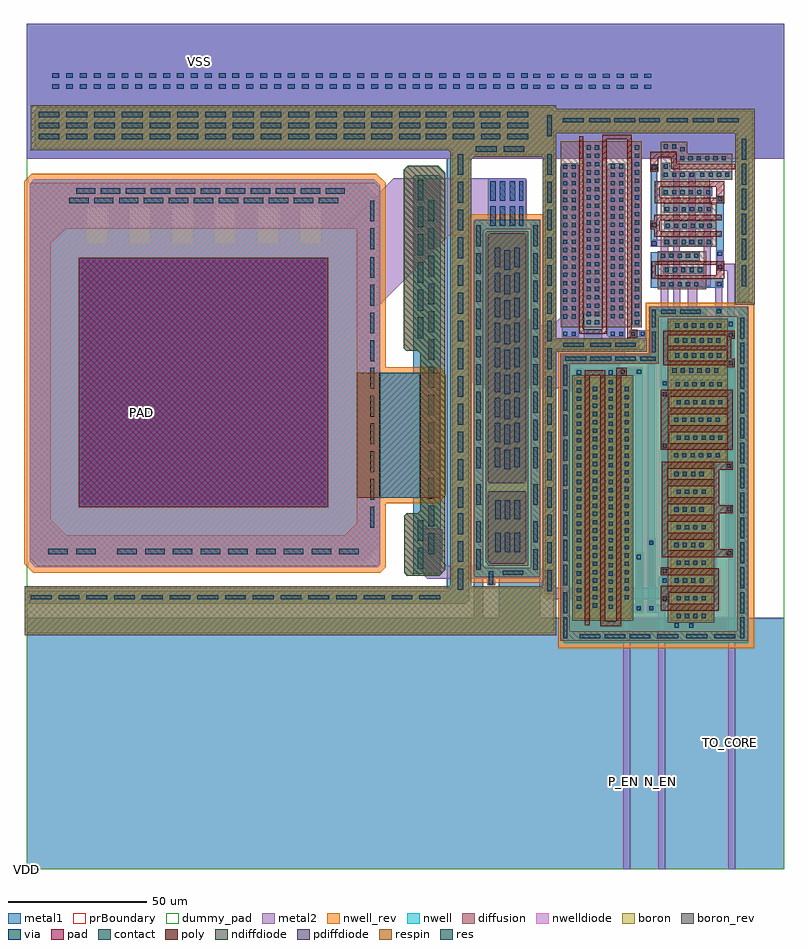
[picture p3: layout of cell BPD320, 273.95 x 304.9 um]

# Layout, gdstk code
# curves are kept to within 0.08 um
import gdstk
lib = gdstk.Library(unit=1e-6, precision=1e-09)
def R(c, l, rs):  # rectangles x0, y0, x1, y1
    for r in rs: c.add(gdstk.rectangle(r[:2], r[2:], *l))
def A(c, l, x, y, w, h, nx, ny, dx, dy):  # array of equal rectangles
    R(c, l, [(x+i*dx, y+j*dy, x+i*dx+w, y+j*dy+h) for i in range(nx) for j in range(ny)])
def P(c, l, *ps):  # polygons
    for p in ps: c.add(gdstk.Polygon(p, *l))
nwell = (1, 0)
diffusion = (2, 0)
nwell_rev = (3, 0)
poly = (4, 0)
boron = (5, 0)
boron_rev = (6, 0)
contact = (7, 0)
metal1 = (8, 0)
via = (9, 0)
metal2 = (10, 0)
pad = (11, 0)
prBoundary = (28, 0)
res = (35, 0)
respin = (36, 0)
pdiffdiode = (37, 0)
nwelldiode = (38, 0)
ndiffdiode = (39, 0)
dummy_pad = (40, 0)

bpd320 = lib.new_cell('BPD320')
P(bpd320, nwell, [(161.5,105.25),(161.15,105.6),(161.15,233.95),(161.45,234.25),(185,234.25),(185.15,234.1),(185.15,105.6),(184.8,105.25)],
  [(3.15,108.95),(1.05,111.05),(1.05,247.25),(2.6,248.8),(125.25,248.8),(127.4,246.65),(127.4,179.652),(128.002,179.05),(147.45,179.05),(149.1,177.4),(149.1,135.7),(147.45,134.05),(128.058,134.05),(127.45,133.442),(127.45,109.75),(126.65,108.95)],
  [(193.6,81.65),(193.6,185.25),(225.25,185.25),(225.25,202.35),(260.2,202.35),(260.2,81.65)])
R(bpd320, diffusion, [(197.35,90.4,218.05,177.4), (231.8,178.1,251.8,197.8), (190.05,187.35,222.85,190.85), (192.45,195.45,221.75,262.45), (227.45,209.2,244.95,222.9)])
P(bpd320, diffusion, [(232.1,89.6),(232.1,176.6),(252.1,176.6),(252.1,147.5),(247.1,147.5),(247.1,89.6)],
  [(3.95,109.3),(1.05,112.2),(1.05,246.563),(2.037,247.55),(119,247.55),(119,231),(14.214,231),(8.7,225.486),(8.7,126.204),(14.404,120.5),(114.449,120.5),(119,125.051),(119,247.55),(125.563,247.55),(127.35,245.763),(127.35,109.952),(126.698,109.3)],
  [(137.101,105.95),(136.1,106.951),(136.1,127.549),(136.951,128.4),(140.987,128.4),(141.85,129.263),(141.85,185.999),(140.849,187),(136.906,187),(136,187.906),(136,252.285),(137.365,253.65),(148.4,253.65),(150.9,251.15),(150.9,108.002),(148.848,105.95)],
  [(162.101,105.25),(161.15,106.201),(161.15,233.344),(162.056,234.25),(181.65,234.25),(181.65,230.75),(165.536,230.75),(164.65,229.864),(164.65,109.515),(165.415,108.75),(181.395,108.75),(181.65,109.005),(181.65,234.25),(184.95,234.25),(185.15,234.05),(185.15,106.052),(184.348,105.25)],
  [(0,85.15),(0,101.45),(153.45,101.45),(153.45,259.248),(152.848,259.85),(3.814,259.85),(2.85,260.814),(2.85,273.45),(4.05,274.65),(186.75,274.65),(186.75,257.65),(160.704,257.65),(159.55,256.496),(159.552,101.45),(186.295,101.45),(186.75,101.905),(186.75,274.65),(188.9,274.65),(190.25,273.3),(190.25,85.15)],
  [(192.35,82.35),(192.35,182.2),(192.3,182.2),(192.3,185.85),(224.35,185.85),(224.35,202.8),(256.15,202.8),(256.15,199.3),(227.85,199.3),(227.85,182.2),(195.85,182.2),(195.85,85.85),(256.15,85.85),(256.15,202.8),(260.1,202.8),(260.1,82.35)],
  [(167.105,110.25),(166.15,111.205),(166.15,135.6),(166.8,136.25),(179.65,136.25),(180.15,135.75),(180.15,111.15),(179.25,110.25)],
  [(166.752,139.25),(166.15,139.852),(166.15,228.35),(167.05,229.25),(179.448,229.25),(180.15,228.548),(180.15,140.156),(179.244,139.25)],
  [(256.15,204.3),(256.15,266.1),(189.95,266.1),(189.95,273.55),(261.65,273.55),(261.65,204.3)],
  [(228.65,224.4),(228.65,262.35),(238.15,262.35),(238.15,258.05),(254.3,258.05),(254.3,248.6),(246.15,248.6),(246.15,239.7),(248.65,239.7),(248.65,224.4)])
P(bpd320, nwell_rev, [(160.672,103.25),(159.15,104.772),(159.15,234.778),(160.622,236.25),(185.828,236.25),(187.15,234.928),(187.15,104.772),(185.628,103.25)],
  [(2.322,106.95),(-0.95,110.222),(-0.95,248.078),(1.772,250.8),(126.078,250.8),(129.4,247.478),(129.4,181.05),(148.278,181.05),(151.1,178.228),(151.1,134.872),(148.278,132.05),(129.45,132.05),(129.45,108.922),(127.478,106.95)],
  [(191.6,79.65),(191.6,187.25),(223.25,187.25),(223.25,204.35),(262.2,204.35),(262.2,79.65)])
P(bpd320, poly, [(206.85,87.65),(206.85,178.1),(202.95,178.1),(202.95,88),(201.15,88),(201.15,180),(208.65,180),(208.65,89.5),(212.55,89.5),(212.55,180.9),(216.35,180.9),(216.35,178),(214.35,178),(214.35,87.65)],
  [(228.6,93.3),(228.6,102.2),(247.6,102.2),(247.6,99.7),(231.6,99.7),(231.6,95.8),(247.6,95.8),(247.6,106.1),(228.6,106.1),(228.6,109),(231.55,109),(231.55,108.6),(249.5,108.6),(249.5,93.3)],
  [(229,112.5),(229,147),(247.6,147),(247.6,144.5),(231.05,144.5),(231.05,140.6),(247.6,140.6),(247.6,138.1),(231.05,138.1),(231.05,134.2),(247.6,134.2),(247.6,131.7),(231.05,131.7),(231.05,127.8),(247.6,127.8),(247.6,125.3),(231.05,125.3),(231.05,121.4),(247.6,121.4),(247.6,118.9),(231.05,118.9),(231.05,115),(247.6,115),(247.6,147),(254.6,147),(254.6,144.1),(249.6,144.1),(249.6,131.35),(254.6,131.35),(254.6,128.45),(249.6,128.45),(249.6,115.4),(254.6,115.4),(254.6,112.5)],
  [(228.6,151.2),(228.6,172.9),(252.6,172.9),(252.6,170.4),(231.55,170.4),(231.55,166.5),(252.6,166.5),(252.6,164),(231.6,164),(231.6,160.1),(252.6,160.1),(252.6,157.6),(231.6,157.6),(231.6,153.7),(252.6,153.7),(252.6,172.9),(254.6,172.9),(254.6,151.2)],
  [(252.4,181.1),(252.4,181.8),(229.55,181.8),(229.55,194.1),(252.4,194.1),(252.4,192.6),(231.1,192.6),(231.1,188.7),(252.4,188.7),(252.4,187.2),(231.1,187.2),(231.1,183.3),(252.4,183.3),(252.4,194.1),(255.3,194.1),(255.3,191.2),(253.9,191.2),(253.9,184),(255.3,184),(255.3,181.1)],
  [(226.3,228.1),(226.3,230.85),(224.7,230.85),(224.7,233.75),(226.3,233.75),(226.3,236),(250.55,236),(250.55,234),(228.15,234),(228.15,230.1),(250.55,230.1),(250.55,228.1)],
  [(216.55,191.7),(216.55,263.15),(209.05,263.15),(209.05,193.05),(199.15,193.05),(199.15,264.25),(200.65,264.25),(200.65,194.65),(207.55,194.65),(207.55,264.75),(218.05,264.75),(218.05,194.6),(220.15,194.6),(220.15,191.7)],
  [(226.45,240.2),(226.45,248.1),(248.5,248.1),(248.5,246.1),(228.15,246.1),(228.15,242.2),(248.5,242.2),(248.5,248.1),(251.4,248.1),(251.4,240.2)],
  [(225.4,212.9),(225.4,219.2),(248.5,219.2),(248.5,218),(226.75,218),(226.75,214.1),(248.5,214.1),(248.5,219.2),(251.4,219.2),(251.4,212.9)],
  [(224.7,251.55),(224.7,258.65),(234.35,258.65),(234.35,254.3),(255.5,254.3),(255.5,252.3),(232.35,252.3),(232.35,256.65),(227.6,256.65),(227.6,251.55)])
R(bpd320, boron, [(196.65,89.7,218.75,178.15), (190.95,186.65,223.55,191.55)])
P(bpd320, boron, [(166.6,109.55),(165.45,110.7),(165.45,229.5),(165.9,229.95),(180.85,229.95),(180.85,109.55)],
  [(-0.7,84.45),(-0.7,102.15),(152.75,102.15),(152.75,258.6),(152.2,259.15),(1.4,259.15),(1.4,275.45),(186.05,275.45),(186.05,256.95),(161.451,256.95),(160.25,255.749),(160.25,102.15),(185.7,102.15),(186.05,102.5),(186.05,275.45),(190.95,275.45),(190.95,84.45)],
  [(231.1,88.85),(231.1,198.5),(252.8,198.5),(252.8,146.75),(247.85,146.75),(247.85,88.85)],
  [(255.4,203.6),(255.4,265.4),(190.95,265.4),(190.95,274.25),(262.45,274.25),(262.45,203.6)])
R(bpd320, boron_rev, [(196.65,89.7,218.75,178.15), (190.95,186.65,223.55,191.55)])
P(bpd320, boron_rev, [(166.6,109.55),(165.45,110.7),(165.45,229.5),(165.9,229.95),(180.85,229.95),(180.85,109.55)],
  [(-0.7,84.45),(-0.7,102.15),(152.75,102.15),(152.75,258.6),(152.2,259.15),(1.4,259.15),(1.4,275.45),(186.05,275.45),(186.05,256.95),(161.451,256.95),(160.25,255.749),(160.25,102.15),(185.7,102.15),(186.05,102.5),(186.05,275.45),(190.95,275.45),(190.95,84.45)],
  [(231.1,88.85),(231.1,198.5),(252.8,198.5),(252.8,146.75),(247.85,146.75),(247.85,88.85)],
  [(255.4,203.6),(255.4,265.4),(190.95,265.4),(190.95,274.25),(262.45,274.25),(262.45,203.6)])
A(bpd320, contact, 199.35, 83.35, 7.5, 1.5, 3, 1, 9, 0)
A(bpd320, contact, 257.15, 83.35, 1.5, 7.5, 1, 13, 0, 9)
A(bpd320, contact, 234.3, 90.6, 1.5, 1.5, 4, 2, 3, 6.4)
A(bpd320, contact, 198.35, 93.9, 1.5, 1.5, 1, 4, 0, 3)
A(bpd320, contact, 209.85, 93.9, 1.5, 1.5, 1, 4, 0, 3)
A(bpd320, contact, 204.15, 94.4, 1.5, 1.5, 1, 27, 0, 3)
A(bpd320, contact, 1.55, 97.3, 7.5, 1.5, 15, 1, 10, 0)
A(bpd320, contact, 215.55, 97.4, 1.5, 1.5, 1, 26, 0, 3)
A(bpd320, contact, 187.75, 100.35, 1.5, 7.5, 1, 16, 0, 10)
A(bpd320, contact, 155.45, 100.85, 2, 7.5, 1, 3, 0, 10)
A(bpd320, contact, 193.35, 102.35, 1.5, 7.5, 1, 9, 0, 9)
A(bpd320, contact, 236.55, 103.4, 1.5, 1.5, 3, 1, 3, 0)
A(bpd320, contact, 209.85, 108.9, 1.5, 1.5, 1, 3, 0, 3)
A(bpd320, contact, 234.3, 109.8, 1.5, 1.5, 4, 3, 3, 12.8)
A(bpd320, contact, 32.75, 113.55, 7, 2, 9, 1, 10, 0)
A(bpd320, contact, 168.85, 114.4, 2, 7, 3, 2, 3.5, 11.75)
A(bpd320, contact, 236.5, 116.2, 1.5, 1.5, 3, 3, 3, 12.8)
A(bpd320, contact, 123.85, 123.25, 1.5, 7.5, 1, 10, 0, 10)
A(bpd320, contact, 144.85, 123.65, 2, 7.5, 1, 12, 0, 10)
A(bpd320, contact, 155.45, 130.35, 2, 7.5, 1, 13, 0, 10)
A(bpd320, contact, 172.25, 144.25, 2, 7, 1, 9, 0, 9)
A(bpd320, contact, 162.15, 144.65, 1.5, 7.5, 1, 9, 0, 10)
A(bpd320, contact, 182.65, 144.65, 1.5, 7.5, 1, 9, 0, 10)
A(bpd320, contact, 168.75, 145.05, 2, 7, 1, 9, 0, 9)
A(bpd320, contact, 175.75, 145.05, 2, 7, 1, 9, 0, 9)
A(bpd320, contact, 233.35, 148.5, 1.5, 1.5, 4, 2, 3, 12.8)
A(bpd320, contact, 234.3, 154.9, 1.5, 1.5, 6, 2, 3, 12.8)
A(bpd320, contact, 234, 174.1, 1.5, 1.5, 4, 1, 3, 0)
A(bpd320, contact, 241.8, 179.1, 1.5, 1.5, 3, 1, 3, 0)
A(bpd320, contact, 194.15, 183.35, 7.5, 1.5, 3, 1, 9, 0)
A(bpd320, contact, 233.8, 184.5, 1.5, 1.5, 6, 2, 3, 10.8)
A(bpd320, contact, 242.55, 189.9, 1.5, 1.5, 3, 1, 3, 0)
A(bpd320, contact, 141.05, 191.45, 2, 7.5, 1, 5, 0, 10)
A(bpd320, contact, 204.85, 196.45, 1.5, 1.5, 1, 3, 0, 3)
A(bpd320, contact, 219.25, 196.45, 1.5, 1.5, 1, 3, 0, 6)
A(bpd320, contact, 196.45, 198.55, 1.5, 1.5, 1, 19, 0, 3)
A(bpd320, contact, 213.55, 198.6, 1.5, 1.5, 1, 5, 0, 3)
A(bpd320, contact, 193.45, 204.55, 1.5, 1.5, 1, 7, 0, 6)
A(bpd320, contact, 210.55, 207.6, 1.5, 1.5, 1, 5, 0, 3)
A(bpd320, contact, 204.85, 208.45, 1.5, 1.5, 1, 3, 0, 3)
A(bpd320, contact, 228.65, 210.2, 1.5, 1.5, 5, 2, 3, 10.2)
A(bpd320, contact, 201.85, 214.45, 1.5, 1.5, 1, 3, 0, 3)
A(bpd320, contact, 213.55, 216.6, 1.5, 1.5, 1, 5, 0, 3)
A(bpd320, contact, 204.85, 220.45, 1.5, 1.5, 1, 3, 0, 3)
A(bpd320, contact, 219.25, 220.45, 1.5, 1.5, 1, 3, 0, 3)
A(bpd320, contact, 230.1, 225.4, 1.5, 1.5, 3, 2, 3, 11.8)
A(bpd320, contact, 210.55, 225.6, 1.5, 1.5, 1, 5, 0, 3)
A(bpd320, contact, 201.85, 226.45, 1.5, 1.5, 1, 3, 0, 3)
A(bpd320, contact, 230.4, 231.3, 1.5, 1.5, 6, 1, 3, 0)
A(bpd320, contact, 204.85, 232.45, 1.5, 1.5, 1, 3, 0, 3)
A(bpd320, contact, 219.25, 232.45, 1.5, 1.5, 1, 3, 0, 3)
A(bpd320, contact, 213.55, 234.6, 1.5, 1.5, 1, 5, 0, 3)
A(bpd320, contact, 201.85, 238.45, 1.5, 1.5, 1, 3, 0, 3)
A(bpd320, contact, 15.3, 240.05, 7, 2, 11, 1, 9, 0)
A(bpd320, contact, 229.65, 243.4, 1.5, 1.5, 5, 1, 3, 0)
A(bpd320, contact, 17.8, 243.55, 7, 2, 10, 1, 9, 0)
A(bpd320, contact, 210.55, 243.6, 1.5, 1.5, 1, 4, 0, 3)
A(bpd320, contact, 204.85, 244.45, 1.5, 1.5, 1, 3, 0, 3)
A(bpd320, contact, 219.25, 244.45, 1.5, 1.5, 1, 3, 0, 3)
A(bpd320, contact, 229.65, 249.6, 1.5, 1.5, 3, 1, 3, 0)
A(bpd320, contact, 242.8, 249.6, 1.5, 1.5, 4, 1, 3, 0)
A(bpd320, contact, 201.85, 250.45, 1.5, 1.5, 1, 4, 0, 3)
A(bpd320, contact, 235.55, 255.55, 1.5, 1.5, 6, 1, 3, 0)
A(bpd320, contact, 4.3, 263.15, 7.5, 2, 14, 3, 10, 4)
A(bpd320, contact, 143.8, 263.15, 7.5, 2, 1, 3, 0, 4)
A(bpd320, contact, 173.3, 263.15, 7.5, 2, 1, 3, 0, 4)
A(bpd320, contact, 202.8, 269.3, 7.5, 1.5, 3, 1, 9, 0)
R(bpd320, contact, [(193.35,83.35,194.85,90.85), (227.35,83.35,234.85,84.85), (237.8,83.35,245.35,84.85), (247.85,83.35,255.35,84.85), (193.35,92.35,194.85,99.85), (229.3,96.9,230.8,98.4), (171.55,106.25,179.05,107.75), (229.3,106.8,230.8,108.3), (162.15,108,163.65,115.5), (182.65,108,184.15,115.5), (141.05,108.4,143.05,115.9), (198.35,108.9,199.85,110.4), (198.35,111.9,199.85,113.4), (252.4,113.2,253.9,114.7), (7.85,113.55,14.85,115.55), (17.85,113.55,24.85,115.55), (198.35,117.9,199.85,119.4), (162.15,118,163.65,125.5), (182.65,118,184.15,125.5), (141.05,118.45,143.05,125.95), (198.35,120.9,199.85,122.4), (209.85,120.9,211.35,122.4), (209.85,123.9,211.35,125.4), (198.35,126.9,199.85,128.4), (252.4,129.15,253.9,130.65), (198.35,129.9,199.85,131.4), (209.85,129.9,211.35,131.4), (162.15,131.4,163.65,138.9), (182.65,131.4,184.15,138.9), (209.85,132.9,211.35,134.4), (198.35,135.9,199.85,137.4), (198.35,138.9,199.85,140.4), (209.85,138.9,211.35,140.4), (209.85,141.9,211.35,143.4), (252.4,144.8,253.9,146.3), (198.35,144.9,199.85,146.4), (198.35,147.9,199.85,149.4), (209.85,147.9,211.35,149.4), (248.35,148.5,249.85,150), (209.85,150.9,211.35,152.4), (229.3,151.9,230.8,153.4), (198.35,153.9,199.85,155.4), (198.35,156.9,199.85,158.4), (209.85,156.9,211.35,158.4), (209.85,159.9,211.35,161.4), (248.35,161.3,249.85,162.8), (198.35,162.9,199.85,164.4), (198.35,165.9,199.85,167.4), (209.85,165.9,211.35,167.4), (209.85,168.9,211.35,170.4), (229.3,170.55,230.8,172.05), (198.35,171.9,199.85,173.4), (249,174.1,250.5,175.6), (198.35,174.9,199.85,176.4), (209.85,174.9,211.35,176.4), (214.15,178.7,215.65,180.2), (232.8,179.1,234.3,180.6), (235.8,179.1,237.3,180.6), (253.1,181.8,254.6,183.3), (221.15,183.35,226.85,184.85), (225.35,186.35,226.85,193.85), (193.35,188.35,200.85,189.85), (203.15,188.35,210.65,189.85), (212.15,188.35,219.65,189.85), (233.55,189.9,235.05,191.4), (236.55,189.9,238.05,191.4), (253.1,191.9,254.6,193.4), (217.95,192.4,219.45,193.9), (225.35,195.35,226.85,201.75), (201.85,196.45,203.35,197.95), (210.55,198.6,212.05,200.1), (201.85,199.45,203.35,200.95), (228.7,200.3,234.05,201.8), (235.55,200.3,243.05,201.8), (210.55,201.6,212.05,203.1), (201.85,205.45,203.35,206.95), (201.85,208.45,203.35,209.95), (257.85,210.3,259.35,217.8), (219.25,211.45,220.75,212.95), (219.25,214.45,220.75,215.95), (229.95,215.3,231.45,216.8), (232.95,215.3,234.45,216.8), (238.95,215.3,240.45,216.8), (241.95,215.3,243.45,216.8), (249.2,216.3,250.7,217.8), (257.85,219.8,259.35,227.3), (123.85,223.6,125.35,231.1), (242.1,225.4,243.6,226.9), (245.1,225.4,246.6,226.9), (257.85,228.8,259.35,236.3), (225.4,231.55,226.9,233.05), (123.85,233.6,125.35,241.1), (242.1,237.2,243.6,238.7), (245.1,237.2,246.6,238.7), (257.85,237.85,259.35,245.3), (249.2,240.9,250.7,242.4), (141.05,241.15,143.05,248.65), (107.8,243.55,114.7,245.55), (193.45,243.55,194.95,245.05), (257.85,246.8,259.35,254.3), (225.4,252.25,226.9,253.75), (193.45,252.55,194.95,254.05), (213.55,252.6,215.05,254.1), (229.65,252.65,231.15,254.15), (257.85,255.85,259.35,263.35), (204.85,256.45,206.35,257.95), (219.25,256.45,220.75,257.95), (161.95,258.65,169.45,260.65), (171.95,258.65,179.45,260.65), (235.65,258.85,237.15,260.35), (204.85,259.45,206.35,260.95), (219.25,259.45,220.75,260.95), (229.65,259.85,231.15,261.35), (232.65,259.85,234.15,261.35), (153.65,263.15,161.3,265.15), (163.8,263.15,170.8,265.15), (187.75,264.35,189.25,271.85), (153.65,267.15,161.3,269.15), (163.8,267.15,170.8,269.15), (193.3,269.3,200.8,270.8), (230.8,269.3,238.3,270.8), (240.1,269.3,247.6,270.8), (249.2,269.3,256.7,270.8), (153.8,271.15,161.3,273.15), (163.3,271.15,170.8,273.15)])
R(bpd320, metal1, [(0,0,273,90.7), (232.85,90.1,247.6,93.3), (223.9,92.55,226.8,119.15), (219.35,92.7,222.3,114.25), (233.05,102.9,244.55,105.8), (233,115.25,244.5,118.2), (233,127.95,244.5,131), (233,140.65,244.5,143.8), (232.85,160.3,250.4,163.3), (233.5,172.95,251,176.1), (232.3,178.15,249.8,181.1), (213.65,178.2,222,180.8), (233.05,189,250.55,191.9), (217.4,191.9,223.35,194.4), (229.45,214.8,244.1,217.3), (224.9,224.4,227.4,254.25), (229.6,224.9,247.1,228.05), (229.6,236.7,247.1,240.05), (229.15,242.9,247.05,246.15), (0,256.2,273,304.9)])
P(bpd320, metal1, [(0.75,95.85),(0.75,100.5),(151.35,100.5),(151.35,256.2),(0,256.2),(0,304.9),(231,304.9),(231,256.2),(190.95,256.2),(190.95,99.3),(190.85,99.2),(186.85,99.2),(186.75,99.3),(186.75,255.344),(185.894,256.2),(160.252,256.2),(159.55,255.498),(159.55,97.066),(158.334,95.85)],
  [(190.1,187.75),(190.1,190.35),(200.9,190.35),(200.9,256.2),(0,256.2),(0,304.9),(273,304.9),(273,256.2),(260.45,256.2),(260.45,204.7),(256.65,204.7),(256.65,255),(234.35,255),(234.35,256.2),(221.75,256.2),(221.75,195.95),(218.7,195.95),(218.25,196.4),(218.25,256.2),(207.45,256.2),(207.45,190.35),(220.75,190.35),(220.75,187.75)],
  [(233.8,96.5),(233.8,99.6),(246.05,99.6),(246.05,109.3),(233.8,109.3),(233.8,112.75),(246.05,112.75),(246.05,121.65),(233.8,121.65),(233.8,124.6),(246.05,124.6),(246.05,134.2),(233.8,134.2),(233.8,137.4),(246.05,137.4),(246.05,147.35),(232.85,147.35),(232.85,150.5),(250.35,150.5),(250.35,147.55),(248.55,147.55),(248.55,96.5)],
  [(0,0),(0,90.7),(160.689,90.7),(161.15,91.161),(161.15,233.85),(161.55,234.25),(164.197,234.25),(164.65,233.797),(164.65,91.05),(165,90.7),(169.7,90.7),(170.15,91.15),(170.15,108.248),(170.652,108.75),(181.395,108.75),(181.65,109.005),(181.65,233.847),(182.053,234.25),(184.8,234.25),(185.15,233.9),(185.15,91.202),(185.652,90.7),(231,90.7),(231,0)],
  [(2.45,110.8),(1.75,111.5),(1.75,245.949),(3.351,247.55),(29.2,247.55),(29.2,238.55),(21.5,238.55),(21.5,225.55),(29.2,225.55),(29.2,247.55),(44.6,247.55),(44.6,238.55),(36.9,238.55),(36.9,225.55),(44.6,225.55),(44.6,247.55),(60,247.55),(60,238.55),(52.3,238.55),(52.3,225.55),(60,225.55),(60,247.55),(75.4,247.55),(75.4,238.55),(67.7,238.55),(67.7,225.55),(75.4,225.55),(75.4,247.55),(90.8,247.55),(90.8,238.55),(83.1,238.55),(83.1,225.55),(90.8,225.55),(90.8,247.55),(106.2,247.55),(106.2,238.55),(98.5,238.55),(98.5,225.55),(106.2,225.55),(106.2,247.55),(121.25,247.55),(127.4,241.4),(127.4,214),(127.3,214),(127.35,116.437),(121.713,110.8)],
  [(139.35,106.65),(139.35,249.685),(139.915,250.25),(148.548,250.25),(149.35,249.448),(149.35,106.65)],
  [(209.2,92.8),(208.95,93.05),(208.95,180.149),(209.651,180.85),(211.35,180.85),(212.15,180.05),(212.15,93.15),(211.8,92.8)],
  [(0,0),(0,90.7),(192.85,90.7),(192.85,185.4),(224.85,185.4),(224.85,202.3),(245.2,202.3),(245.2,199.8),(227.35,199.8),(227.35,182.75),(195.35,182.75),(195.35,91.801),(196.451,90.7),(202.8,90.7),(203.1,91),(203.1,174.644),(203.906,175.45),(205.596,175.45),(206.65,174.396),(206.65,91.655),(207.605,90.7),(214.3,90.7),(214.3,174.6),(217.75,174.6),(217.75,90.7),(256.65,90.7),(256.65,202.3),(259.55,202.3),(259.55,90.7),(273,90.7),(273,0)],
  [(198.15,92.8),(197.35,93.6),(197.35,179.848),(198.152,180.65),(200.398,180.65),(201.05,179.998),(201.05,93.502),(200.348,92.8)],
  [(228.8,96.4),(228.8,173.95),(228.65,173.95),(228.65,176.45),(231.3,176.45),(231.3,96.4)],
  [(251.9,112.7),(251.9,153.7),(233.6,153.7),(233.6,156.9),(251.95,156.9),(251.95,166.5),(233.6,166.5),(233.6,169.7),(252.6,169.7),(252.6,197.95),(255.1,197.95),(255.1,112.7)],
  [(166.15,102.35),(166.15,135.394),(166.157,135.412),(166.237,135.531),(166.956,136.25),(179.348,136.25),(180.15,135.448),(180.15,111.27),(179.13,110.25),(169.601,110.25),(168.65,109.299),(168.65,102.35)],
  [(166.75,139.25),(166.15,139.85),(166.15,248.498),(166.802,249.15),(179.747,249.15),(180.115,248.782),(180.15,248.697),(180.15,140.156),(179.244,139.25)],
  [(228.9,183.3),(228.9,197.3),(248.3,197.3),(248.3,202.5),(250.8,202.5),(250.8,194.35),(231.5,194.35),(231.5,186.5),(250.8,186.5),(250.8,183.3)],
  [(192.95,191.85),(192.85,191.95),(192.85,254.2),(193.25,254.6),(198.398,254.6),(199.1,253.898),(199.1,191.85)],
  [(248.6,215.8),(248.6,230.8),(229.9,230.8),(229.9,233.75),(248.6,233.75),(248.6,242.9),(251.2,242.9),(251.2,215.8)],
  [(209.8,191.85),(209.15,192.5),(209.15,253.55),(210.2,254.6),(215.3,254.6),(215.85,254.05),(215.85,192.15),(215.55,191.85)],
  [(224.9,209.7),(224.9,222.4),(242.65,222.4),(242.65,219.35),(227.9,219.35),(227.9,212.85),(251.1,212.85),(251.1,209.7)],
  [(229.15,248.55),(229.15,254.65),(232.05,254.65),(232.05,251.6),(254.3,251.6),(254.3,248.55)])
A(bpd320, via, 198.35, 105.9, 1.5, 1.5, 1, 8, 0, 9)
A(bpd320, via, 233.5, 116.2, 1.5, 1.5, 1, 3, 0, 12.8)
A(bpd320, via, 209.85, 117.9, 1.5, 1.5, 1, 7, 0, 9)
A(bpd320, via, 193.45, 201.55, 1.5, 1.5, 1, 7, 0, 6)
A(bpd320, via, 210.55, 204.6, 1.5, 1.5, 1, 3, 0, 18)
A(bpd320, via, 204.85, 205.45, 1.5, 1.5, 1, 5, 0, 12)
A(bpd320, via, 219.25, 205.45, 1.5, 1.5, 1, 5, 0, 12)
A(bpd320, via, 201.85, 211.45, 1.5, 1.5, 1, 4, 0, 12)
A(bpd320, via, 213.55, 213.6, 1.5, 1.5, 1, 3, 0, 18)
A(bpd320, via, 182.7, 281.4, 2.5, 1.5, 9, 2, 5, 4)
A(bpd320, via, 9.2, 281.45, 2.5, 1.5, 27, 2, 5, 4)
A(bpd320, via, 143.7, 281.45, 2.5, 1.5, 4, 2, 5, 4)
A(bpd320, via, 163.2, 281.45, 2.5, 1.5, 4, 2, 5, 4)
R(bpd320, via, [(233.55,87.15,235.05,88.65), (238.8,87.15,240.3,88.65), (219.85,93.35,221.35,94.85), (224.45,93.35,225.95,94.85), (166.65,102.85,168.15,107.5), (229.3,103.4,230.8,104.9), (233.55,103.4,235.05,104.9), (209.85,105.9,211.35,107.4), (219.85,111.85,221.35,113.35), (144.85,113.65,146.85,121.15), (224.45,116.95,225.95,118.45), (18.8,130.55,108.8,220.55), (245.35,148.5,246.85,150), (245.35,161.3,246.85,162.8), (246,174.1,247.5,175.6), (229.25,174.45,230.75,175.95), (198.35,178.4,199.85,179.9), (209.85,178.4,211.35,179.9), (220,178.7,221.5,180.2), (238.8,179.1,240.3,180.6), (239.55,189.9,241.05,191.4), (193.45,192.35,194.95,193.85), (196.45,192.35,197.95,193.85), (210.55,192.35,212.05,193.85), (213.55,192.35,215.05,193.85), (221.35,192.4,222.85,193.9), (253.1,195.85,254.6,197.35), (193.45,198.55,194.95,200.05), (219.25,199.45,220.75,200.95), (248.8,200.5,250.3,202), (201.85,202.45,203.35,203.95), (248.8,210.2,250.3,211.7), (235.95,215.3,237.45,216.8), (249.2,221.2,250.7,222.7), (225.4,224.9,226.9,226.4), (239.1,225.4,240.6,226.9), (167.05,232.05,169.05,239.05), (170.6,232.05,172.6,239.05), (174.1,232.05,176.1,239.05), (177.6,232.05,179.1,239.05), (239.1,237.2,240.6,238.7), (167.05,241.05,169.05,248.05), (170.6,241.05,172.6,248.05), (174.1,241.05,176.1,248.05), (177.6,241.05,179.1,248.05), (244.9,243.4,246.4,244.9), (193.45,246.55,194.95,248.05), (193.45,249.55,194.95,251.05), (239.1,249.6,240.6,251.1)])
R(bpd320, metal2, [(233.05,86.65,235.55,105.4), (219.35,111.35,222,180.8), (244.85,148,248.15,176.1), (238.6,224.9,241.1,251.6), (0,256.2,273,304.9)])
P(bpd320, metal2, [(252.6,195.35),(252.6,215.8),(248.7,215.8),(248.7,223.2),(251.2,223.2),(251.2,218.3),(255.3,218.3),(255.3,195.35)],
  [(215.05,0),(215.05,95.35),(221.85,95.35),(221.85,92.7),(217.55,92.7),(217.55,0)],
  [(14.751,125.55),(13.8,126.501),(13.8,224.7),(14.65,225.55),(108.749,225.55),(132.15,248.951),(132.15,249.15),(179.547,249.15),(180.2,248.497),(180.2,229.8),(179,228.6),(152.298,228.6),(113.8,190.118),(113.8,126.352),(112.998,125.55)],
  [(252.85,0),(252.85,177.9),(248.3,177.9),(248.3,212.2),(250.8,212.2),(250.8,180.6),(255.35,180.6),(255.35,0)],
  [(227.65,0),(227.65,92.55),(223.9,92.55),(223.9,95.4),(230.15,95.4),(230.15,0)],
  [(233,115.3),(233,256.2),(221.55,256.2),(221.55,198.002),(221.398,197.85),(218.51,197.85),(218.25,198.11),(218.25,256.2),(207.45,256.2),(207.45,200.302),(206.948,199.8),(201.901,199.8),(200.9,200.801),(200.9,256.2),(0,256.2),(0,304.9),(273,304.9),(273,256.2),(235.5,256.2),(235.5,217.3),(237.95,217.3),(237.95,214.8),(235.55,214.8),(235.55,115.3)],
  [(197.65,104.35),(197.1,104.9),(197.1,171.849),(195.499,173.45),(162.807,173.45),(158.95,177.307),(158.95,226.6),(156.95,228.6),(155.45,228.6),(155.45,231.55),(180.2,231.55),(180.2,199.452),(183.452,196.2),(189.7,196.2),(192.4,198.9),(192.4,253.298),(193.002,253.9),(198.25,253.9),(199.1,253.05),(199.1,194.654),(200.754,193),(207.55,193),(209.15,194.6),(209.15,251.949),(210.101,252.9),(214.998,252.9),(215.75,252.148),(215.75,183.902),(213.55,181.702),(213.55,105.213),(212.887,104.55),(208.702,104.55),(208.45,104.802),(208.45,175.789),(207.339,176.9),(202.163,176.9),(201.1,175.837),(201.1,104.9),(200.55,104.35)],
  [(238.3,86.65),(238.3,212.85),(244.05,212.85),(244.05,245.65),(247.05,245.65),(247.05,242.6),(246.55,242.6),(246.55,210.3),(241.75,210.3),(241.75,188.5),(240.8,188.5),(240.8,86.65)],
  [(186.865,97.45),(185.55,98.765),(185.55,104.35),(185.15,104.75),(169.05,104.75),(168.95,104.65),(168.95,102.45),(168.85,102.35),(166.15,102.35),(165.95,102.55),(165.95,104.6),(165.7,104.85),(144.453,104.85),(142.8,106.503),(142.8,122.548),(143.302,123.05),(149.298,123.05),(149.8,122.548),(149.8,111.101),(151.351,109.55),(168.05,109.55),(169.202,108.3),(189.65,108.3),(189.65,102.642),(190.742,101.55),(227.25,101.55),(227.9,102.2),(227.9,105.45),(231.35,105.45),(231.35,98.384),(230.416,97.45)],
  [(228.65,173.95),(228.65,224.4),(224.9,224.4),(224.9,226.95),(231.3,226.95),(231.3,173.95)],
  [(223.9,116.4),(223.9,191.8),(220.75,191.8),(220.75,194.4),(226.5,194.4),(226.5,116.4)])
R(bpd320, pad, [(18.8,130.55,108.8,220.55)])
R(bpd320, prBoundary, [(0,0,273,304.9)])
R(bpd320, res, [(127.35,134.05,141.85,179.05)])
R(bpd320, respin, [(119,134.05,127.35,179.05), (141.85,134.05,149.1,179.05)])
P(bpd320, pdiffdiode, [(167.105,110.25),(166.15,111.205),(166.15,135.6),(166.8,136.25),(179.65,136.25),(180.15,135.75),(180.15,111.15),(179.25,110.25)],
  [(166.752,139.25),(166.15,139.852),(166.15,228.35),(167.05,229.25),(179.448,229.25),(180.15,228.548),(180.15,140.156),(179.244,139.25)])
P(bpd320, nwelldiode, [(3.15,108.95),(1.05,111.05),(1.05,247.25),(2.6,248.8),(125.25,248.8),(127.4,246.65),(127.4,179.652),(128.002,179.05),(147.45,179.05),(149.1,177.4),(149.1,135.7),(147.45,134.05),(128.058,134.05),(127.45,133.442),(127.45,109.75),(126.65,108.95)])
P(bpd320, ndiffdiode, [(137.101,105.95),(136.1,106.951),(136.1,127.549),(136.951,128.4),(140.987,128.4),(141.85,129.263),(141.85,185.999),(140.849,187),(136.906,187),(136,187.906),(136,252.285),(137.365,253.65),(148.4,253.65),(150.9,251.15),(150.9,108.002),(148.848,105.95)])
R(bpd320, dummy_pad, [(0,0,273,304.9)])
bpd320.add(gdstk.Label('TO_CORE', (253.7,45.75), layer=10, texttype=7))
bpd320.add(gdstk.Label('VSS', (62.2,291.4), layer=10, texttype=7))
bpd320.add(gdstk.Label('N_EN', (228.5,31.6), layer=10, texttype=7))
bpd320.add(gdstk.Label('P_EN', (215.1,31.7), layer=10, texttype=7))
bpd320.add(gdstk.Label('PAD', (41.55,164.85), layer=10, texttype=7))
bpd320.add(gdstk.Label('VDD', (0.001,0.001), layer=8, texttype=7))

lib.write_gds('BPD320.gds')
